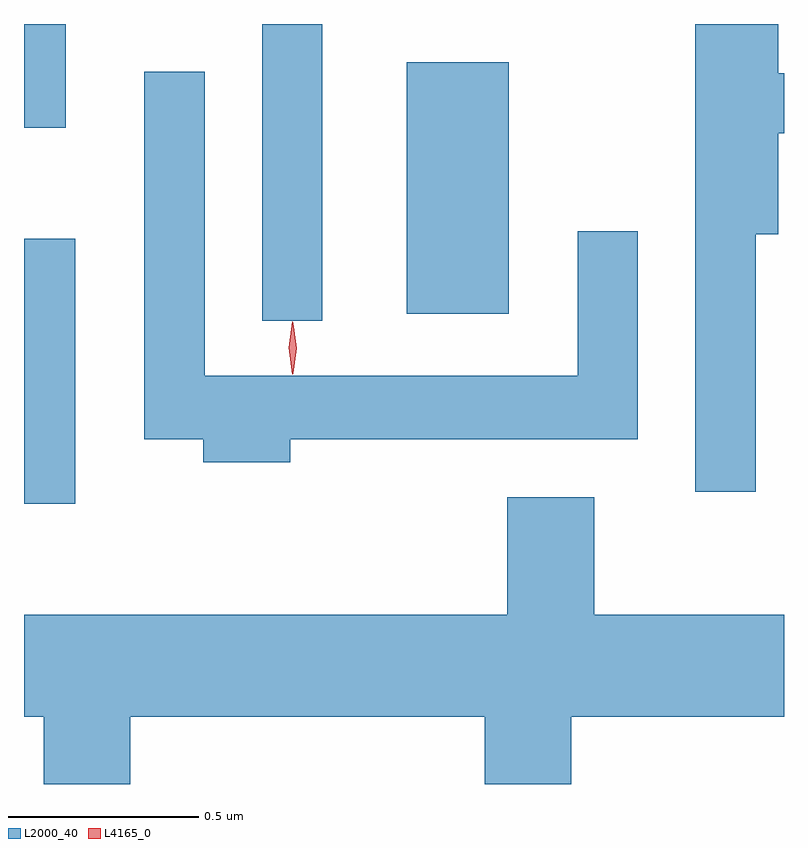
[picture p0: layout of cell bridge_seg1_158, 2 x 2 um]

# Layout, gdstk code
import gdstk
lib = gdstk.Library(unit=1e-6, precision=1e-09)
def R(c, l, rs):  # rectangles x0, y0, x1, y1
    for r in rs: c.add(gdstk.rectangle(r[:2], r[2:], *l))
def P(c, l, *ps):  # polygons
    for p in ps: c.add(gdstk.Polygon(p, *l))
L2000_40 = (2000, 40)
L4165_0 = (4165, 0)

bridge_seg1_158 = lib.new_cell('bridge_seg1_158')
R(bridge_seg1_158, L2000_40, [(900.229,962.296,900.364,962.994), (900.856,962.778,901.014,963.559), (901.236,962.796,901.504,963.459), (900.229,963.286,900.339,963.559)])
P(bridge_seg1_158, L2000_40, [(902.154,963.006),(902.214,963.006),(902.214,963.271),(902.229,963.271),(902.229,963.429),(902.214,963.429),(902.214,963.559),(901.996,963.559),(901.996,962.328),(902.154,962.328)],
  [(900.929,962.466),(901.844,962.466),(901.844,963.013),(901.686,963.013),(901.686,962.634),(900.704,962.634),(900.704,963.433),(900.546,963.433),(900.546,962.466),(900.701,962.466),(900.701,962.406),(900.929,962.406)],
  [(900.509,961.736),(901.441,961.736),(901.441,961.559),(901.669,961.559),(901.669,961.736),(902.229,961.736),(902.229,962.004),(901.729,962.004),(901.729,962.314),(901.501,962.314),(901.501,962.004),(900.229,962.004),(900.229,961.736),(900.281,961.736),(900.281,961.559),(900.509,961.559)])
P(bridge_seg1_158, L4165_0, [(900.935,962.637),(900.926,962.707),(900.935,962.776),(900.936,962.776),(900.936,962.776),(900.945,962.707),(900.936,962.637),(900.936,962.637)],
  [(900.937,962.639),(900.936,962.64),(900.927,962.706),(900.936,962.772),(900.937,962.773),(900.937,962.772),(900.947,962.706),(900.937,962.64)])

lib.write_gds('bridge_seg1_158.gds')
